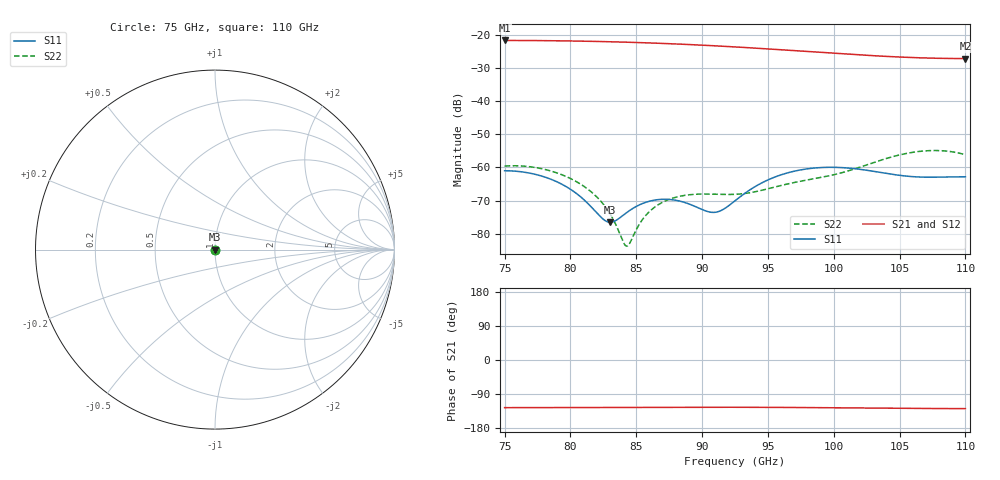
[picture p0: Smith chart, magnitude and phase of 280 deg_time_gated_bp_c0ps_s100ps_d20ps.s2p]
# Hz S RI R 50.000000
! Metas.Vna.Tools, 2.4.7724.19584
! Metas.Vna.Data, 2.4.7724.19560
! Created: UTC 2021.04.29 12:40:11
! FREQ  re:S1,1  im:S1,1  re:S2,1  im:S2,1  re:S1,2  im:S1,2  re:S2,2  im:S2,2
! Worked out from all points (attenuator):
!   1401 points, 75 GHz to 110 GHz, reference 50 ohm
!   highest |S21| = -21.70 dB at 75 GHz (marker M1); lowest = -27.2 dB at 110 GHz (marker M2)
!   lowest |S11| = -76.6 dB at 83.03 GHz (marker M3), VSWR 1.00, Z = 50 + j0.00261 ohm
!   |S11| at or under -10 dB: start of sweep to end of sweep
!   |S22| runs from -83.8 to -54.9 dB; largest |S21 - S12| = 0.0022
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7.5e10  -0.000127 -0.000882  -0.048 -0.0668  -0.0465 -0.0683  0.000924 0.000493
7.665e10  -0.000135 -0.000826  -0.0479 -0.0667  -0.0464 -0.0682  0.000847 0.0006
7.8225e10  -0.000152 -0.00068  -0.0476 -0.0664  -0.046 -0.0679  0.000697 0.000593
7.9625e10  -0.000167 -0.000493  -0.0471 -0.0659  -0.0456 -0.0674  0.000527 0.000514
8.085e10  -0.000172 -0.000304  -0.0466 -0.0654  -0.0451 -0.0669  0.000368 0.000404
8.2075e10  -0.000164 -0.000112  -0.0459 -0.0648  -0.0444 -0.0663  0.00021 0.000276
8.3025e10  -0.000146 2.61e-05  -0.0454 -0.0642  -0.0439 -0.0657  9.34e-05 0.000174
8.38e10  -0.000124 0.000126  -0.0449 -0.0637  -0.0434 -0.0651  5.63e-06 9.39e-05
8.47e10  -8.89e-05 0.000221  -0.0442 -0.063  -0.0428 -0.0644  -8.59e-05 8.18e-06
8.5775e10  -3.69e-05 0.000298  -0.0434 -0.0621  -0.042 -0.0634  -0.000177 -8.01e-05
8.6675e10  1.24e-05 0.000327  -0.0427 -0.0612  -0.0414 -0.0625  -0.000235 -0.000141
8.845e10  0.000112 0.000284  -0.0412 -0.0593  -0.04 -0.0605  -0.000293 -0.000229
9.0825e10  0.000206 3.62e-05  -0.039 -0.0564  -0.0381 -0.0574  -0.000247 -0.000308
9.1525e10  0.000218 -6.79e-05  -0.0383 -0.0554  -0.0375 -0.0564  -0.00021 -0.00033
9.25e10  0.000217 -0.000226  -0.0374 -0.054  -0.0367 -0.0549  -0.000148 -0.000364
9.3875e10  0.000182 -0.000458  -0.0362 -0.052  -0.0356 -0.0527  -5.26e-05 -0.00042
9.5225e10  0.00011 -0.000668  -0.0349 -0.0499  -0.0346 -0.0505  2.5e-05 -0.000488
9.835e10  -0.000154 -0.000958  -0.0322 -0.0451  -0.0325 -0.0453  -1.36e-05 -0.000667
1.00875e11  -0.000389 -0.000906  -0.0304 -0.0414  -0.031 -0.0414  -0.000383 -0.00077
1.04175e11  -0.00061 -0.00052  -0.0285 -0.0374  -0.0296 -0.0371  -0.00118 -0.000749
1.07275e11  -0.000702 -0.000112  -0.0275 -0.0351  -0.0288 -0.0346  -0.00171 -0.000542
1.1e11  -0.000722 3.54e-05  -0.0272 -0.0344  -0.0286 -0.0338  -0.00153 -0.000272
